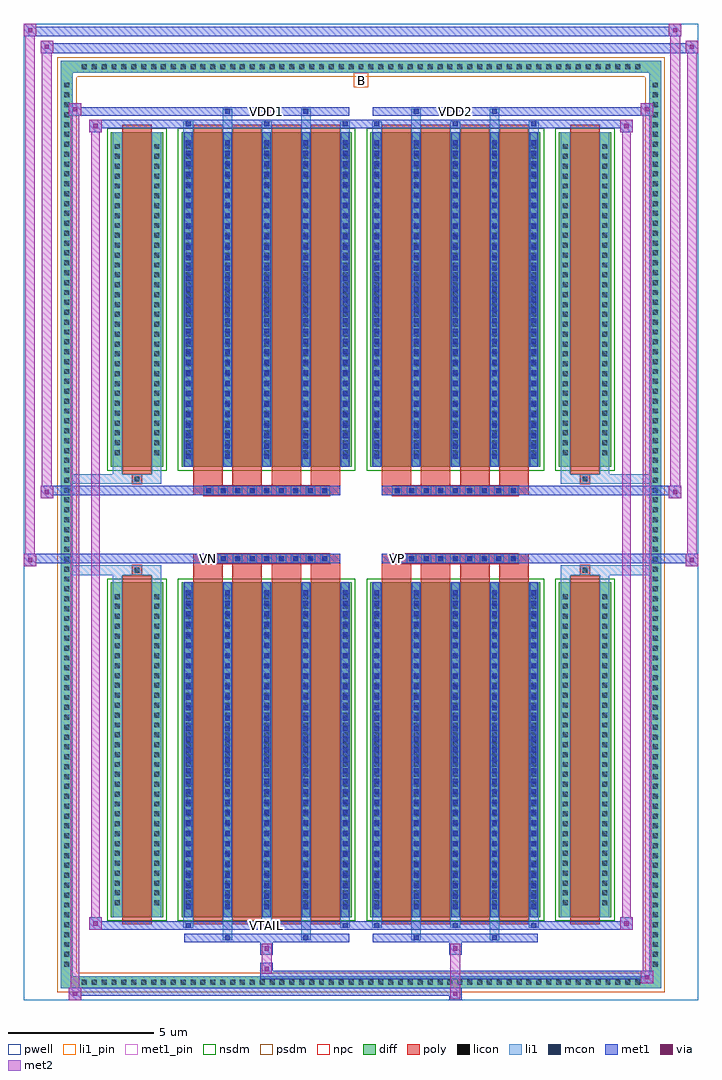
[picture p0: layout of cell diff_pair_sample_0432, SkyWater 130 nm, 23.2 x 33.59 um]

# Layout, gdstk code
import gdstk
lib = gdstk.Library(unit=1e-6, precision=5e-09)
def R(c, l, rs):  # rectangles x0, y0, x1, y1
    for r in rs: c.add(gdstk.rectangle(r[:2], r[2:], *l))
def A(c, l, x, y, w, h, nx, ny, dx, dy):  # array of equal rectangles
    R(c, l, [(x+i*dx, y+j*dy, x+i*dx+w, y+j*dy+h) for i in range(nx) for j in range(ny)])
def P(c, l, *ps):  # polygons
    for p in ps: c.add(gdstk.Polygon(p, *l))
pwell = (64, 44)
diff = (65, 20)
poly = (66, 20)
licon = (66, 44)
li1_pin = (67, 16)
li1 = (67, 20)
mcon = (67, 44)
met1_pin = (68, 16)
met1 = (68, 20)
via = (68, 44)
met2 = (69, 20)
nsdm = (93, 44)
psdm = (94, 20)
npc = (95, 20)

diff_pair_sample_0432 = lib.new_cell('diff_pair_sample_0432')
R(diff_pair_sample_0432, pwell, [(-11.6,-16.36,11.6,17.23), (-8.92,-14.55,-0.01,-0.805), (0.01,-14.55,8.92,-0.805), (-8.92,0.805,-0.01,14.55), (0.01,0.805,8.92,14.55)])
A(diff_pair_sample_0432, diff, -9.725, -15.96, 0.41, 0.41, 57, 2, 0.34, 31.51)
A(diff_pair_sample_0432, diff, -10.33, -15.335, 0.41, 0.41, 1, 90, 0, 0.34)
A(diff_pair_sample_0432, diff, 9.92, -15.335, 0.41, 0.41, 1, 90, 0, 0.34)
R(diff_pair_sample_0432, diff, [(-9.725,-15.96,9.725,-15.55), (-10.33,-15.335,-9.92,15.335), (9.92,-15.335,10.33,15.335), (-8.61,-13.505,-6.81,-1.985), (-6.17,-13.505,-0.32,-1.985), (0.32,-13.505,6.17,-1.985), (6.81,-13.505,8.61,-1.985), (-8.61,1.985,-6.81,13.505), (-6.17,1.985,-0.32,13.505), (0.32,1.985,6.17,13.505), (6.81,1.985,8.61,13.505), (-9.725,15.55,9.725,15.96)])
P(diff_pair_sample_0432, diff, [(10.33,15.96),(-10.33,15.96),(-10.33,-15.55),(-9.92,-15.55),(-9.92,15.55),(9.92,15.55),(9.92,-15.55),(-9.92,-15.55),(-10.33,-15.55),(-10.33,-15.96),(10.33,-15.96)])
A(diff_pair_sample_0432, poly, -5.78, -13.755, 1.02, 12.02, 4, 2, 1.35, 15.49)
A(diff_pair_sample_0432, poly, 0.71, -13.755, 1.02, 12.02, 4, 2, 1.35, 15.49)
A(diff_pair_sample_0432, poly, -5.78, -1.735, 1.02, 0.4, 4, 2, 1.35, 3.07)
A(diff_pair_sample_0432, poly, 0.71, -1.735, 1.02, 0.4, 4, 2, 1.35, 3.07)
A(diff_pair_sample_0432, poly, -5.41, -1.335, 0.33, 0.33, 9, 2, 0.5, 2.34)
A(diff_pair_sample_0432, poly, 1.08, -1.335, 0.33, 0.33, 9, 2, 0.5, 2.34)
R(diff_pair_sample_0432, poly, [(-8.22,-13.755,-7.2,-1.735), (7.2,-13.755,8.22,-1.735), (-7.875,-1.735,-7.545,-1.405), (-7.875,-1.735,-7.545,-1.405), (7.545,-1.735,7.875,-1.405), (7.545,-1.735,7.875,-1.405), (-5.78,-1.335,-0.71,-1.005), (0.71,-1.335,5.78,-1.005), (-5.78,1.005,-0.71,1.335), (0.71,1.005,5.78,1.335), (-7.875,1.405,-7.545,1.735), (-7.875,1.405,-7.545,1.735), (7.545,1.405,7.875,1.735), (7.545,1.405,7.875,1.735), (-8.22,1.735,-7.2,13.755), (7.2,1.735,8.22,13.755)])
A(diff_pair_sample_0432, licon, -9.605, -15.84, 0.17, 0.17, 57, 2, 0.34, 31.51)
A(diff_pair_sample_0432, licon, -10.21, -15.215, 0.17, 0.17, 1, 90, 0, 0.34)
A(diff_pair_sample_0432, licon, 10.04, -15.215, 0.17, 0.17, 1, 90, 0, 0.34)
A(diff_pair_sample_0432, licon, -8.47, -13.1, 0.17, 0.17, 1, 32, 0, 0.34)
A(diff_pair_sample_0432, licon, -7.12, -13.1, 0.17, 0.17, 1, 32, 0, 0.34)
A(diff_pair_sample_0432, licon, -6.03, -13.1, 0.17, 0.17, 5, 32, 1.35, 0.34)
A(diff_pair_sample_0432, licon, 0.46, -13.1, 0.17, 0.17, 5, 32, 1.35, 0.34)
A(diff_pair_sample_0432, licon, 6.95, -13.1, 0.17, 0.17, 1, 32, 0, 0.34)
A(diff_pair_sample_0432, licon, 8.3, -13.1, 0.17, 0.17, 1, 32, 0, 0.34)
A(diff_pair_sample_0432, licon, -5.33, -1.255, 0.17, 0.17, 9, 2, 0.5, 2.34)
A(diff_pair_sample_0432, licon, 1.16, -1.255, 0.17, 0.17, 9, 2, 0.5, 2.34)
A(diff_pair_sample_0432, licon, -8.47, 2.39, 0.17, 0.17, 1, 32, 0, 0.34)
A(diff_pair_sample_0432, licon, -7.12, 2.39, 0.17, 0.17, 1, 32, 0, 0.34)
A(diff_pair_sample_0432, licon, -6.03, 2.39, 0.17, 0.17, 5, 32, 1.35, 0.34)
A(diff_pair_sample_0432, licon, 0.46, 2.39, 0.17, 0.17, 5, 32, 1.35, 0.34)
A(diff_pair_sample_0432, licon, 6.95, 2.39, 0.17, 0.17, 1, 32, 0, 0.34)
A(diff_pair_sample_0432, licon, 8.3, 2.39, 0.17, 0.17, 1, 32, 0, 0.34)
R(diff_pair_sample_0432, licon, [(-7.795,-1.655,-7.625,-1.485), (7.625,-1.655,7.795,-1.485), (-7.795,1.485,-7.625,1.655), (7.625,1.485,7.795,1.655)])
R(diff_pair_sample_0432, li1_pin, [(-0.25,15.05,0.25,15.55)])
A(diff_pair_sample_0432, li1, -9.685, -15.92, 0.33, 0.33, 57, 2, 0.34, 31.51)
A(diff_pair_sample_0432, li1, -10.29, -15.295, 0.33, 0.33, 1, 90, 0, 0.34)
A(diff_pair_sample_0432, li1, 9.96, -15.295, 0.33, 0.33, 1, 90, 0, 0.34)
A(diff_pair_sample_0432, li1, -6.11, -13.88, 0.33, 0.375, 3, 2, 2.7, 27.385)
A(diff_pair_sample_0432, li1, -6.03, -13.88, 0.17, 0.17, 3, 2, 2.7, 27.59)
A(diff_pair_sample_0432, li1, 0.38, -13.88, 0.33, 0.375, 3, 2, 2.7, 27.385)
A(diff_pair_sample_0432, li1, 0.46, -13.88, 0.17, 0.17, 3, 2, 2.7, 27.59)
A(diff_pair_sample_0432, li1, -6.11, -13.505, 0.33, 11.52, 5, 2, 1.35, 15.49)
A(diff_pair_sample_0432, li1, 0.38, -13.505, 0.33, 11.52, 5, 2, 1.35, 15.49)
A(diff_pair_sample_0432, li1, -6.03, -13.23, 0.17, 0.17, 5, 31, 1.35, 0.36)
A(diff_pair_sample_0432, li1, -6.03, -13.23, 0.17, 10.97, 5, 2, 1.35, 15.49)
A(diff_pair_sample_0432, li1, 0.46, -13.23, 0.17, 0.17, 5, 31, 1.35, 0.36)
A(diff_pair_sample_0432, li1, 0.46, -13.23, 0.17, 10.97, 5, 2, 1.35, 15.49)
A(diff_pair_sample_0432, li1, -8.55, -13.18, 0.33, 0.33, 1, 32, 0, 0.34)
A(diff_pair_sample_0432, li1, -7.2, -13.18, 0.33, 0.33, 1, 32, 0, 0.34)
A(diff_pair_sample_0432, li1, -6.11, -13.18, 0.33, 0.33, 5, 32, 1.35, 0.34)
A(diff_pair_sample_0432, li1, 0.38, -13.18, 0.33, 0.33, 5, 32, 1.35, 0.34)
A(diff_pair_sample_0432, li1, 6.87, -13.18, 0.33, 0.33, 1, 32, 0, 0.34)
A(diff_pair_sample_0432, li1, 8.22, -13.18, 0.33, 0.33, 1, 32, 0, 0.34)
A(diff_pair_sample_0432, li1, -5.41, -1.335, 0.33, 0.33, 9, 2, 0.5, 2.34)
A(diff_pair_sample_0432, li1, 1.08, -1.335, 0.33, 0.33, 9, 2, 0.5, 2.34)
A(diff_pair_sample_0432, li1, -6.03, 2.26, 0.17, 0.17, 5, 31, 1.35, 0.36)
A(diff_pair_sample_0432, li1, 0.46, 2.26, 0.17, 0.17, 5, 31, 1.35, 0.36)
A(diff_pair_sample_0432, li1, -8.55, 2.31, 0.33, 0.33, 1, 32, 0, 0.34)
A(diff_pair_sample_0432, li1, -7.2, 2.31, 0.33, 0.33, 1, 32, 0, 0.34)
A(diff_pair_sample_0432, li1, -6.11, 2.31, 0.33, 0.33, 5, 32, 1.35, 0.34)
A(diff_pair_sample_0432, li1, 0.38, 2.31, 0.33, 0.33, 5, 32, 1.35, 0.34)
A(diff_pair_sample_0432, li1, 6.87, 2.31, 0.33, 0.33, 1, 32, 0, 0.34)
A(diff_pair_sample_0432, li1, 8.22, 2.31, 0.33, 0.33, 1, 32, 0, 0.34)
R(diff_pair_sample_0432, li1, [(-10.33,-15.96,-9.92,-15.55), (-10.33,-15.96,-9.92,-15.55), (-9.92,-15.96,9.92,-15.55), (9.92,-15.96,10.33,-15.55), (9.92,-15.96,10.33,-15.55), (-10.33,-15.55,-9.92,15.55), (9.92,-15.55,10.33,15.55), (-4.76,-14.31,-4.43,-13.505), (-4.68,-14.31,-4.51,-14.14), (-2.06,-14.31,-1.73,-13.505), (-1.98,-14.31,-1.81,-14.14), (1.73,-14.31,2.06,-13.505), (1.81,-14.31,1.98,-14.14), (4.43,-14.31,4.76,-13.505), (4.51,-14.31,4.68,-14.14), (-8.55,-13.505,-8.22,-1.985), (-7.2,-13.505,-6.87,-1.985), (6.87,-13.505,7.2,-1.985), (8.22,-13.505,8.55,-1.985), (-8.55,-1.985,-8.22,-1.405), (-7.2,-1.985,-6.87,-1.405), (6.87,-1.985,7.2,-1.405), (8.22,-1.985,8.55,-1.405), (-10.33,-1.735,-7.875,-1.405), (-8.55,-1.735,-7.875,-1.405), (-7.875,-1.735,-7.545,-1.405), (-7.545,-1.735,-6.87,-1.405), (6.87,-1.735,7.545,-1.405), (7.545,-1.735,7.875,-1.405), (7.545,-1.735,10.33,-1.405), (7.875,-1.735,8.55,-1.405), (-10.33,1.405,-7.875,1.735), (-8.55,1.405,-7.875,1.735), (-8.55,1.405,-8.22,1.985), (-7.875,1.405,-7.545,1.735), (-7.545,1.405,-6.87,1.735), (-7.2,1.405,-6.87,1.985), (6.87,1.405,7.545,1.735), (6.87,1.405,7.2,1.985), (7.545,1.405,7.875,1.735), (7.545,1.405,10.33,1.735), (7.875,1.405,8.55,1.735), (8.22,1.405,8.55,1.985), (-8.55,1.985,-8.22,13.505), (-7.2,1.985,-6.87,13.505), (6.87,1.985,7.2,13.505), (8.22,1.985,8.55,13.505), (-4.76,13.505,-4.43,14.31), (-2.06,13.505,-1.73,14.31), (1.73,13.505,2.06,14.31), (4.43,13.505,4.76,14.31), (-4.68,14.14,-4.51,14.31), (-1.98,14.14,-1.81,14.31), (1.81,14.14,1.98,14.31), (4.51,14.14,4.68,14.31), (-10.33,15.55,-9.92,15.96), (-10.33,15.55,-9.92,15.96), (-9.92,15.55,9.92,15.96), (9.92,15.55,10.33,15.96), (9.92,15.55,10.33,15.96)])
A(diff_pair_sample_0432, mcon, -6.03, -13.88, 0.17, 0.17, 3, 2, 2.7, 27.59)
A(diff_pair_sample_0432, mcon, 0.46, -13.88, 0.17, 0.17, 3, 2, 2.7, 27.59)
A(diff_pair_sample_0432, mcon, -6.03, -13.23, 0.17, 0.17, 5, 31, 1.35, 0.36)
A(diff_pair_sample_0432, mcon, 0.46, -13.23, 0.17, 0.17, 5, 31, 1.35, 0.36)
A(diff_pair_sample_0432, mcon, -5.33, -1.255, 0.17, 0.17, 9, 2, 0.5, 2.34)
A(diff_pair_sample_0432, mcon, 1.16, -1.255, 0.17, 0.17, 9, 2, 0.5, 2.34)
A(diff_pair_sample_0432, mcon, -6.03, 2.26, 0.17, 0.17, 5, 31, 1.35, 0.36)
A(diff_pair_sample_0432, mcon, 0.46, 2.26, 0.17, 0.17, 5, 31, 1.35, 0.36)
R(diff_pair_sample_0432, mcon, [(-4.68,-14.31,-4.51,-14.14), (-1.98,-14.31,-1.81,-14.14), (1.81,-14.31,1.98,-14.14), (4.51,-14.31,4.68,-14.14), (-4.68,14.14,-4.51,14.31), (-1.98,14.14,-1.81,14.31), (1.81,14.14,1.98,14.31), (4.51,14.14,4.68,14.31)])
R(diff_pair_sample_0432, met1_pin, [(-3.38,-13.92,-3.11,-13.65), (-5.38,-1.295,-5.11,-1.025), (1.11,-1.295,1.38,-1.025), (-3.38,14.1,-3.11,14.37), (3.11,14.1,3.38,14.37)])
A(diff_pair_sample_0432, met1, -6.09, -13.94, 0.29, 0.29, 3, 2, 2.7, 27.59)
A(diff_pair_sample_0432, met1, 0.4, -13.94, 0.29, 0.29, 3, 2, 2.7, 27.59)
A(diff_pair_sample_0432, met1, -6.09, -13.505, 0.29, 11.52, 5, 2, 1.35, 15.49)
A(diff_pair_sample_0432, met1, 0.4, -13.505, 0.29, 11.52, 5, 2, 1.35, 15.49)
A(diff_pair_sample_0432, met1, -6.09, -13.29, 0.29, 0.29, 5, 31, 1.35, 0.36)
A(diff_pair_sample_0432, met1, 0.4, -13.29, 0.29, 0.29, 5, 31, 1.35, 0.36)
A(diff_pair_sample_0432, met1, -5.39, -1.315, 0.29, 0.29, 9, 2, 0.5, 2.34)
A(diff_pair_sample_0432, met1, 1.1, -1.315, 0.29, 0.29, 9, 2, 0.5, 2.34)
A(diff_pair_sample_0432, met1, -6.09, 2.2, 0.29, 0.29, 5, 31, 1.35, 0.36)
A(diff_pair_sample_0432, met1, 0.4, 2.2, 0.29, 0.29, 5, 31, 1.35, 0.36)
R(diff_pair_sample_0432, met1, [(-10.06,-16.36,-9.63,-15.93), (3.03,-16.36,3.46,-15.93), (-10.06,-16.22,3.46,-15.93), (9.63,-15.79,10.06,-15.36), (-3.46,-15.65,10.06,-15.36), (-3.46,-15.51,-3.03,-15.08), (-3.46,-14.8,-3.03,-14.37), (3.03,-14.8,3.46,-14.37), (-6.09,-14.37,-0.4,-14.08), (-4.74,-14.37,-4.45,-14.08), (-2.04,-14.37,-1.75,-14.08), (0.4,-14.37,6.09,-14.08), (1.75,-14.37,2.04,-14.08), (4.45,-14.37,4.74,-14.08), (-9.35,-13.94,-8.92,-13.51), (-9.35,-13.94,-6.09,-13.65), (-6.09,-13.94,-0.4,-13.65), (-0.4,-13.94,0.4,-13.65), (0.4,-13.94,6.09,-13.65), (6.09,-13.94,9.35,-13.65), (8.92,-13.94,9.35,-13.51), (-11.6,-1.435,-11.17,-1.005), (11.17,-1.435,11.6,-1.005), (-11.6,-1.335,-0.71,-1.005), (-5.78,-1.335,-0.71,-1.005), (0.71,-1.335,5.78,-1.005), (0.71,-1.335,11.6,-1.005), (-11.03,0.905,-10.6,1.335), (10.6,0.905,11.03,1.335), (-11.03,1.005,-5.78,1.335), (-5.78,1.005,-0.71,1.335), (0.71,1.005,5.78,1.335), (5.78,1.005,11.03,1.335), (-9.35,13.51,-8.92,13.94), (8.92,13.51,9.35,13.94), (-9.35,13.65,-6.09,13.94), (-6.09,13.65,-0.4,13.94), (-0.4,13.65,0.4,13.94), (0.4,13.65,6.09,13.94), (6.09,13.65,9.35,13.94), (-10.06,14.08,-9.63,14.51), (-10.06,14.08,-6.09,14.37), (-6.09,14.08,-0.4,14.37), (-4.74,14.08,-4.45,14.37), (-2.04,14.08,-1.75,14.37), (0.4,14.08,6.09,14.37), (1.75,14.08,2.04,14.37), (4.45,14.08,4.74,14.37), (6.09,14.08,10.06,14.37), (9.63,14.08,10.06,14.51), (-11.03,16.23,-10.6,16.66), (-11.03,16.23,-8.92,16.56), (-8.92,16.23,8.92,16.56), (8.92,16.23,11.6,16.56), (11.17,16.23,11.6,16.66), (-11.6,16.8,-11.17,17.23), (-11.6,16.8,-8.92,17.13), (-8.92,16.8,8.92,17.13), (8.92,16.8,11.03,17.13), (10.6,16.8,11.03,17.23)])
R(diff_pair_sample_0432, via, [(-9.92,-16.22,-9.77,-16.07), (3.17,-16.22,3.32,-16.07), (9.77,-15.65,9.92,-15.5), (-3.32,-15.37,-3.17,-15.22), (-3.32,-14.66,-3.17,-14.51), (3.17,-14.66,3.32,-14.51), (-9.21,-13.8,-9.06,-13.65), (9.06,-13.8,9.21,-13.65), (-11.46,-1.295,-11.31,-1.145), (11.31,-1.295,11.46,-1.145), (-10.89,1.045,-10.74,1.195), (10.74,1.045,10.89,1.195), (-9.21,13.65,-9.06,13.8), (9.06,13.65,9.21,13.8), (-9.92,14.22,-9.77,14.37), (9.77,14.22,9.92,14.37), (-10.89,16.37,-10.74,16.52), (11.31,16.37,11.46,16.52), (-11.46,16.94,-11.31,17.09), (10.74,16.94,10.89,17.09)])
R(diff_pair_sample_0432, met2, [(-10.06,-16.36,-9.63,-15.93), (-9.99,-16.36,-9.7,14.51), (-9.7,-16.36,-9.63,-15.93), (-10.01,-16.31,-9.68,-15.98), (3.08,-16.31,3.41,-15.98), (3.08,-15.98,3.41,-14.75), (9.63,-15.79,10.06,-15.36), (9.7,-15.79,9.99,14.51), (9.99,-15.79,10.06,-15.36), (9.68,-15.74,10.01,-15.41), (-3.41,-15.46,-3.08,-15.13), (-3.41,-15.13,-3.08,-14.75), (-3.41,-14.75,-3.08,-14.42), (3.08,-14.75,3.41,-14.42), (-9.35,-13.94,-8.92,-13.51), (-9.28,-13.94,-8.99,13.94), (-8.99,-13.94,-8.92,-13.51), (8.92,-13.94,9.35,-13.51), (8.99,-13.94,9.28,13.94), (9.28,-13.94,9.35,-13.51), (-9.3,-13.89,-8.97,-13.56), (8.97,-13.89,9.3,-13.56), (-11.6,-1.435,-11.17,-1.005), (-11.55,-1.435,-11.22,17.23), (-11.22,-1.435,-11.17,-1.005), (11.17,-1.435,11.6,-1.005), (11.22,-1.435,11.55,16.66), (11.55,-1.435,11.6,-1.005), (-11.55,-1.385,-11.22,-1.055), (11.22,-1.385,11.55,-1.055), (-11.03,0.905,-10.6,1.335), (-10.98,0.905,-10.65,16.66), (-10.65,0.905,-10.6,1.335), (10.6,0.905,11.03,1.335), (10.65,0.905,10.98,17.23), (10.98,0.905,11.03,1.335), (-10.98,0.955,-10.65,1.285), (10.65,0.955,10.98,1.285), (-9.35,13.51,-8.92,13.94), (-8.99,13.51,-8.92,13.94), (8.92,13.51,9.35,13.94), (9.28,13.51,9.35,13.94), (-9.3,13.56,-8.97,13.89), (8.97,13.56,9.3,13.89), (-10.06,14.08,-9.63,14.51), (-9.7,14.08,-9.63,14.51), (9.63,14.08,10.06,14.51), (9.99,14.08,10.06,14.51), (-10.01,14.13,-9.68,14.46), (9.68,14.13,10.01,14.46), (-11.03,16.23,-10.6,16.66), (-10.65,16.23,-10.6,16.66), (11.17,16.23,11.6,16.66), (11.55,16.23,11.6,16.66), (-10.98,16.28,-10.65,16.61), (11.22,16.28,11.55,16.61), (-11.6,16.8,-11.17,17.23), (-11.22,16.8,-11.17,17.23), (10.6,16.8,11.03,17.23), (10.98,16.8,11.03,17.23), (-11.55,16.85,-11.22,17.18), (10.65,16.85,10.98,17.18)])
R(diff_pair_sample_0432, nsdm, [(-8.74,-13.635,-6.68,-1.855), (-6.3,-13.635,-0.19,-1.855), (0.19,-13.635,6.3,-1.855), (6.68,-13.635,8.74,-1.855), (-8.74,1.855,-6.68,13.635), (-6.3,1.855,-0.19,13.635), (0.19,1.855,6.3,13.635), (6.68,1.855,8.74,13.635)])
P(diff_pair_sample_0432, psdm, [(10.46,16.09),(-10.46,16.09),(-10.46,-15.42),(-9.79,-15.42),(-9.79,15.42),(9.79,15.42),(9.79,-15.42),(-9.79,-15.42),(-10.46,-15.42),(-10.46,-16.09),(10.46,-16.09)])
A(diff_pair_sample_0432, npc, -5.43, -1.355, 0.37, 0.37, 9, 2, 0.5, 2.34)
A(diff_pair_sample_0432, npc, 1.06, -1.355, 0.37, 0.37, 9, 2, 0.5, 2.34)
R(diff_pair_sample_0432, npc, [(-7.895,-1.755,-7.525,-1.385), (7.525,-1.755,7.895,-1.385), (-5.43,-1.355,-4.56,-0.985), (-5.43,-1.355,-4.56,-0.985), (-4.93,-1.355,-4.06,-0.985), (-4.93,-1.355,-4.06,-0.985), (-4.43,-1.355,-3.56,-0.985), (-4.43,-1.355,-3.56,-0.985), (-3.93,-1.355,-3.06,-0.985), (-3.93,-1.355,-3.06,-0.985), (-3.43,-1.355,-2.56,-0.985), (-3.43,-1.355,-2.56,-0.985), (-2.93,-1.355,-2.06,-0.985), (-2.93,-1.355,-2.06,-0.985), (-2.43,-1.355,-1.56,-0.985), (-2.43,-1.355,-1.56,-0.985), (-1.93,-1.355,-1.06,-0.985), (-1.93,-1.355,-1.06,-0.985), (1.06,-1.355,1.93,-0.985), (1.06,-1.355,1.93,-0.985), (1.56,-1.355,2.43,-0.985), (1.56,-1.355,2.43,-0.985), (2.06,-1.355,2.93,-0.985), (2.06,-1.355,2.93,-0.985), (2.56,-1.355,3.43,-0.985), (2.56,-1.355,3.43,-0.985), (3.06,-1.355,3.93,-0.985), (3.06,-1.355,3.93,-0.985), (3.56,-1.355,4.43,-0.985), (3.56,-1.355,4.43,-0.985), (4.06,-1.355,4.93,-0.985), (4.06,-1.355,4.93,-0.985), (4.56,-1.355,5.43,-0.985), (4.56,-1.355,5.43,-0.985), (-5.43,0.985,-4.56,1.355), (-5.43,0.985,-4.56,1.355), (-4.93,0.985,-4.06,1.355), (-4.93,0.985,-4.06,1.355), (-4.43,0.985,-3.56,1.355), (-4.43,0.985,-3.56,1.355), (-3.93,0.985,-3.06,1.355), (-3.93,0.985,-3.06,1.355), (-3.43,0.985,-2.56,1.355), (-3.43,0.985,-2.56,1.355), (-2.93,0.985,-2.06,1.355), (-2.93,0.985,-2.06,1.355), (-2.43,0.985,-1.56,1.355), (-2.43,0.985,-1.56,1.355), (-1.93,0.985,-1.06,1.355), (-1.93,0.985,-1.06,1.355), (1.06,0.985,1.93,1.355), (1.06,0.985,1.93,1.355), (1.56,0.985,2.43,1.355), (1.56,0.985,2.43,1.355), (2.06,0.985,2.93,1.355), (2.06,0.985,2.93,1.355), (2.56,0.985,3.43,1.355), (2.56,0.985,3.43,1.355), (3.06,0.985,3.93,1.355), (3.06,0.985,3.93,1.355), (3.56,0.985,4.43,1.355), (3.56,0.985,4.43,1.355), (4.06,0.985,4.93,1.355), (4.06,0.985,4.93,1.355), (4.56,0.985,5.43,1.355), (4.56,0.985,5.43,1.355), (-7.895,1.385,-7.525,1.755), (7.525,1.385,7.895,1.755)])
diff_pair_sample_0432.add(gdstk.Label('VTAIL', (-3.245,-13.785), layer=68, texttype=5))
diff_pair_sample_0432.add(gdstk.Label('VN', (-5.245,-1.16), layer=68, texttype=5))
diff_pair_sample_0432.add(gdstk.Label('VP', (1.245,-1.16), layer=68, texttype=5))
diff_pair_sample_0432.add(gdstk.Label('B', (0,15.3), layer=67, texttype=5))
diff_pair_sample_0432.add(gdstk.Label('VDD2', (3.245,14.235), layer=68, texttype=5))
diff_pair_sample_0432.add(gdstk.Label('VDD1', (-3.245,14.235), layer=68, texttype=5))

lib.write_gds('diff_pair_sample_0432.gds')
